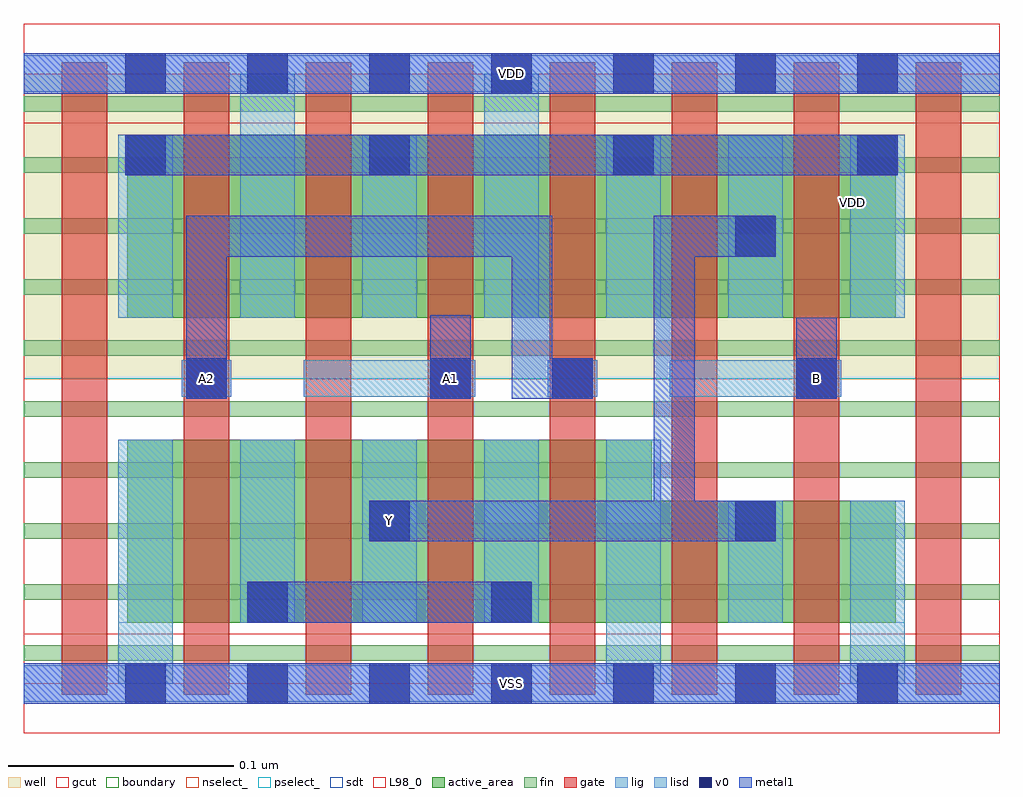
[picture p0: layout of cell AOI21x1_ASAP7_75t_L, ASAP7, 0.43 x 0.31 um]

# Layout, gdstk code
import gdstk
lib = gdstk.Library(unit=1e-6, precision=2.5e-10)
def R(c, l, rs):  # rectangles x0, y0, x1, y1
    for r in rs: c.add(gdstk.rectangle(r[:2], r[2:], *l))
def A(c, l, x, y, w, h, nx, ny, dx, dy):  # array of equal rectangles
    R(c, l, [(x+i*dx, y+j*dy, x+i*dx+w, y+j*dy+h) for i in range(nx) for j in range(ny)])
def P(c, l, *ps):  # polygons
    for p in ps: c.add(gdstk.Polygon(p, *l))
well = (1, 0)
fin = (2, 0)
gate = (7, 0)
gcut = (10, 0)
active_area = (11, 0)
nselect_ = (12, 0)
pselect_ = (13, 0)
lig = (16, 0)
lisd = (17, 0)
v0 = (18, 0)
metal1 = (19, 0)
sdt = (88, 0)
L98_0 = (98, 0)
boundary = (100, 0)

aoi21x1_asap7_75t_l = lib.new_cell('AOI21x1_ASAP7_75t_L')
R(aoi21x1_asap7_75t_l, well, [(0,0.135,0.432,0.27)])
A(aoi21x1_asap7_75t_l, fin, 0, 0.01, 0.432, 0.007, 1, 10, 0, 0.027)
A(aoi21x1_asap7_75t_l, gate, 0.017, -0.005, 0.02, 0.28, 8, 1, 0.054, 0)
R(aoi21x1_asap7_75t_l, gcut, [(0,-0.022,0.432,0.022), (0,0.248,0.432,0.292)])
R(aoi21x1_asap7_75t_l, active_area, [(0.046,0.162,0.386,0.243)])
P(aoi21x1_asap7_75t_l, active_area, [(0.046,0.027),(0.046,0.108),(0.278,0.108),(0.278,0.081),(0.386,0.081),(0.386,0.027)])
R(aoi21x1_asap7_75t_l, nselect_, [(0,0,0.432,0.135)])
R(aoi21x1_asap7_75t_l, pselect_, [(0,0.135,0.432,0.27)])
R(aoi21x1_asap7_75t_l, lig, [(0,-0.008,0.432,0.008), (0.07,0.127,0.092,0.143), (0.124,0.127,0.2,0.143), (0.232,0.127,0.254,0.143), (0.286,0.127,0.362,0.143), (0,0.262,0.432,0.278)])
A(aoi21x1_asap7_75t_l, lisd, 0.096, 0.027, 0.024, 0.081, 3, 1, 0.054, 0)
A(aoi21x1_asap7_75t_l, lisd, 0.042, 0.162, 0.024, 0.081, 3, 1, 0.108, 0)
R(aoi21x1_asap7_75t_l, lisd, [(0.042,0,0.066,0.108), (0.258,0,0.282,0.108), (0.366,0,0.39,0.081), (0.312,0.027,0.336,0.081), (0.096,0.162,0.12,0.27), (0.204,0.162,0.228,0.27), (0.312,0.162,0.336,0.243), (0.366,0.162,0.39,0.243)])
A(aoi21x1_asap7_75t_l, v0, 0.045, -0.009, 0.018, 0.018, 7, 2, 0.054, 0.27)
A(aoi21x1_asap7_75t_l, v0, 0.045, 0.225, 0.018, 0.018, 4, 1, 0.108, 0)
R(aoi21x1_asap7_75t_l, v0, [(0.099,0.027,0.117,0.045), (0.207,0.027,0.225,0.045), (0.153,0.063,0.171,0.081), (0.315,0.063,0.333,0.081), (0.072,0.126,0.09,0.144), (0.18,0.126,0.198,0.144), (0.234,0.126,0.252,0.144), (0.342,0.126,0.36,0.144), (0.315,0.189,0.333,0.207)])
R(aoi21x1_asap7_75t_l, metal1, [(0,-0.009,0.432,0.009), (0.099,0.027,0.225,0.045), (0.18,0.126,0.198,0.163), (0.342,0.126,0.36,0.162), (0.045,0.225,0.387,0.243), (0,0.261,0.432,0.279)])
P(aoi21x1_asap7_75t_l, metal1, [(0.153,0.063),(0.153,0.081),(0.279,0.081),(0.279,0.207),(0.333,0.207),(0.333,0.189),(0.297,0.189),(0.297,0.081),(0.333,0.081),(0.333,0.063)],
  [(0.072,0.126),(0.072,0.207),(0.234,0.207),(0.234,0.144),(0.252,0.144),(0.252,0.126),(0.216,0.126),(0.216,0.189),(0.09,0.189),(0.09,0.126)])
A(aoi21x1_asap7_75t_l, sdt, 0.042, 0.027, 0.024, 0.081, 5, 1, 0.054, 0)
A(aoi21x1_asap7_75t_l, sdt, 0.042, 0.162, 0.024, 0.081, 7, 1, 0.054, 0)
R(aoi21x1_asap7_75t_l, sdt, [(0.312,0.027,0.336,0.081), (0.366,0.027,0.39,0.081)])
R(aoi21x1_asap7_75t_l, L98_0, [(0,0,0.432,0.27)])
R(aoi21x1_asap7_75t_l, boundary, [(0,0,0.432,0.27)])
aoi21x1_asap7_75t_l.add(gdstk.Label('Y', (0.162,0.072), layer=19, texttype=251))
aoi21x1_asap7_75t_l.add(gdstk.Label('B', (0.351,0.135), layer=19, texttype=251))
aoi21x1_asap7_75t_l.add(gdstk.Label('A2', (0.081,0.135), layer=19, texttype=251))
aoi21x1_asap7_75t_l.add(gdstk.Label('A1', (0.189,0.135), layer=19, texttype=251))
aoi21x1_asap7_75t_l.add(gdstk.Label('VSS', (0.216,0), layer=19, texttype=251))
aoi21x1_asap7_75t_l.add(gdstk.Label('VDD', (0.216,0.27), layer=19, texttype=251))
aoi21x1_asap7_75t_l.add(gdstk.Label('VDD', (0.367,0.213), layer=1, texttype=251))
aoi21x1_asap7_75t_l.add(gdstk.Label('VSS', (0.497,0.213), layer=3, texttype=251))

lib.write_gds('AOI21x1_ASAP7_75t_L.gds')
